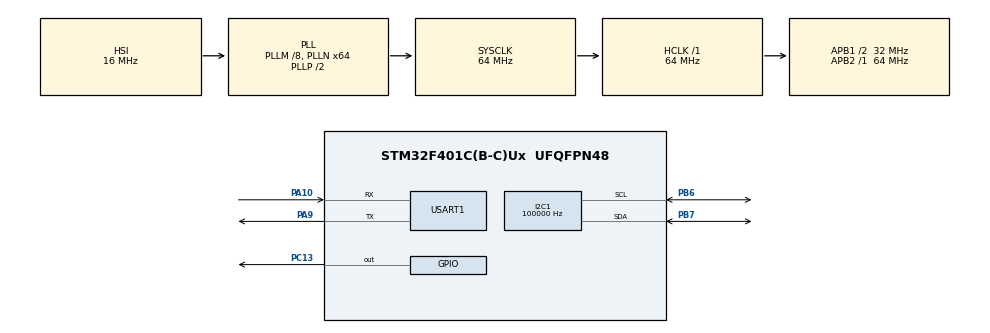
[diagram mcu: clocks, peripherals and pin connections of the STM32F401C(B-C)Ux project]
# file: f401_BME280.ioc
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I2C1.ClockSpeed=100000
I2C1.OwnAddress=0x0
Mcu.Family=STM32F4
Mcu.Name=STM32F401C(B-C)Ux
Mcu.Package=UFQFPN48
NVIC.PriorityGroup=NVIC_PRIORITYGROUP_4
NVIC.USART1_IRQn=true\:0\:0\:false\:false\:true\:true\:true\:true
PA10.Mode=Asynchronous
PA10.Signal=USART1_RX
PA9.Mode=Asynchronous
PA9.Signal=USART1_TX
PB6.Mode=I2C
PB6.Signal=I2C1_SCL
PB7.Mode=I2C
PB7.Signal=I2C1_SDA
PC13-ANTI_TAMP.Signal=GPIO_Output
ProjectManager.HeapSize=0x200
ProjectManager.StackSize=0x400
ProjectManager.TargetToolchain=STM32CubeIDE
RCC.48MHZClocksFreq_Value=32000000
RCC.AHBFreq_Value=64000000
RCC.APB1CLKDivider=RCC_HCLK_DIV2
RCC.APB1Freq_Value=32000000
RCC.APB1TimFreq_Value=64000000
RCC.APB2Freq_Value=64000000
RCC.APB2TimFreq_Value=64000000
RCC.CortexFreq_Value=64000000
RCC.HCLKFreq_Value=64000000
RCC.HSE_VALUE=25000000
RCC.HSI_VALUE=16000000
RCC.LSE_VALUE=32768
RCC.PLLM=8
RCC.PLLN=64
RCC.SYSCLKFreq_VALUE=64000000
RCC.SYSCLKSource=RCC_SYSCLKSOURCE_PLLCLK
RCC.VCOOutputFreq_Value=128000000
USART1.VirtualMode=VM_ASYNC
board=custom

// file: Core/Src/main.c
/* USER CODE BEGIN Header */
/**
  ******************************************************************************
  * @file           : main.c
  * @brief          : Main program body
  ******************************************************************************
  * @attention
  *
  * Copyright (c) 2022 STMicroelectronics.
  * All rights reserved.
  *
  * This software is licensed under terms that can be found in the LICENSE file
  * in the root directory of this software component.
  * If no LICENSE file comes with this software, it is provided AS-IS.
  *
  ******************************************************************************
  */
/* USER CODE END Header */
#include "main.h"

/* USER CODE BEGIN Includes */
#include <stdio.h>
#include "UART_config.h"
#include "BME280.h"
/* USER CODE END Includes */

 I2C_HandleTypeDef hi2c1;

UART_HandleTypeDef huart1;

/* USER CODE BEGIN PV */
char str1[100];
struct overs_mode{
	uint8_t ovs_tepm;
	uint8_t ovs_pres;
	uint8_t ovs_hum;
	uint8_t mode;
};
struct config_bme{
	uint8_t standby;
	uint8_t filter;
	uint8_t spi3;
};
/* USER CODE END PV */

void SystemClock_Config(void);
static void MX_GPIO_Init(void);
static void MX_I2C1_Init(void);
static void MX_USART1_UART_Init(void);

int main(void)
{

  /* MCU Configuration--------------------------------------------------------*/

  /* Reset of all peripherals, Initializes the Flash interface and the Systick. */
  HAL_Init();

  /* Configure the system clock */
  SystemClock_Config();

  /* Initialize all configured peripherals */
  MX_GPIO_Init();
  MX_I2C1_Init();
  MX_USART1_UART_Init();

  /* Infinite loop */
  /* USER CODE BEGIN WHILE */
  struct overs_mode om;
  struct config_bme	bme_conf;
  printf("stm init\r\n");
  HAL_StatusTypeDef ret;
  ret = HAL_I2C_IsDeviceReady(&hi2c1, 0x76, 3, 5);
  BME280_Init();
/*
  printf("Reset\r\n");
  BME280_SoftReset();
  status_sensor = BME280_GetStatus();

  while(status_sensor != STATUS_READY){
	  status_sensor = BME280_GetStatus();
	  printf("%d\r\n", status_sensor);
  }
  printf("Reset ok\r\n");
  */
  BME280_GetOversamplingMode(&om);
  printf("temp: %d\r\npres: %d\r\nhum: %d\r\nmode: %d\r\n\r\n", om.ovs_tepm, om.ovs_pres, om.ovs_hum, om.mode);

  BME280_GetConfig(&bme_conf);
  printf("Standby: %d\r\nFilter: %d\r\nSPI 3-Wire: %d\r\n\r\n",bme_conf.standby, bme_conf.filter, bme_conf.spi3);
  /*
  BME280_SetOversamplingHum(BME280_OVERSAMPLING_X1);
  BME280_GetOversamplingMode(&om);
  printf("temp: %d\r\npres: %d\r\nhum: %d\r\nmode: %d\r\n\r\n", om.ovs_tepm, om.ovs_pres, om.ovs_hum, om.mode);

  BME280_SetOversamplingTemp(BME280_OVERSAMPLING_X2);
  BME280_GetOversamplingMode(&om);
  printf("temp: %d\r\npres: %d\r\nhum: %d\r\nmode: %d\r\n\r\n", om.ovs_tepm, om.ovs_pres, om.ovs_hum, om.mode);

  BME280_SetOversamplingPress(BME280_OVERSAMPLING_X16);
  BME280_GetOversamplingMode(&om);
  printf("temp: %d\r\npres: %d\r\nhum: %d\r\nmode: %d\r\n\r\n", om.ovs_tepm, om.ovs_pres, om.ovs_hum, om.mode);

  BME280_SetMode(BME280_MODE_FORCED);
  BME280_GetOversamplingMode(&om);
  printf("temp: %d\r\npres: %d\r\nhum: %d\r\nmode: %d\r\n\r\n", om.ovs_tepm, om.ovs_pres, om.ovs_hum, om.mode);
	*/

  /*
  BME280_SetStandbyTime(BME280_STANDBY_TIME_125);
  BME280_GetConfig(&bme_conf);
  printf("Standby: %d\r\nFilter: %d\r\nSPI 3-Wire: %d\r\n\r\n",bme_conf.standby, bme_conf.filter, bme_conf.spi3);
  BME280_SetFilter(BME280_FILTER_OFF);
  BME280_GetConfig(&bme_conf);
  printf("Standby: %d\r\nFilter: %d\r\nSPI 3-Wire: %d\r\n\r\n",bme_conf.standby, bme_conf.filter, bme_conf.spi3);
	*/
  while (1)
  {
    /* USER CODE END WHILE */

    /* USER CODE BEGIN 3 */
	  float temp, pres, hum;
	  temp = BME280_GetTemperature();
	  pres = BME280_GetPressure()/1000.0f;
	  hum = BME280_GetHumidity();
	  printf("Temperature = %.3f *C Pressure = %.3f hPa Humidity = %.3f %% \n\r", temp, pres, hum);
	  HAL_Delay(100);
  }
  /* USER CODE END 3 */
}

void SystemClock_Config(void)
{
  RCC_OscInitTypeDef RCC_OscInitStruct = {0};
  RCC_ClkInitTypeDef RCC_ClkInitStruct = {0};

  /** Configure the main internal regulator output voltage
  */
  __HAL_RCC_PWR_CLK_ENABLE();
  __HAL_PWR_VOLTAGESCALING_CONFIG(PWR_REGULATOR_VOLTAGE_SCALE2);

  /** Initializes the RCC Oscillators according to the specified parameters
  * in the RCC_OscInitTypeDef structure.
  */
  RCC_OscInitStruct.OscillatorType = RCC_OSCILLATORTYPE_HSI;
  RCC_OscInitStruct.HSIState = RCC_HSI_ON;
  RCC_OscInitStruct.HSICalibrationValue = RCC_HSICALIBRATION_DEFAULT;
  RCC_OscInitStruct.PLL.PLLState = RCC_PLL_ON;
  RCC_OscInitStruct.PLL.PLLSource = RCC_PLLSOURCE_HSI;
  RCC_OscInitStruct.PLL.PLLM = 8;
  RCC_OscInitStruct.PLL.PLLN = 64;
  RCC_OscInitStruct.PLL.PLLP = RCC_PLLP_DIV2;
  RCC_OscInitStruct.PLL.PLLQ = 4;
  if (HAL_RCC_OscConfig(&RCC_OscInitStruct) != HAL_OK)
  {
    Error_Handler();
  }

  /** Initializes the CPU, AHB and APB buses clocks
  */
  RCC_ClkInitStruct.ClockType = RCC_CLOCKTYPE_HCLK|RCC_CLOCKTYPE_SYSCLK
                              |RCC_CLOCKTYPE_PCLK1|RCC_CLOCKTYPE_PCLK2;
  RCC_ClkInitStruct.SYSCLKSource = RCC_SYSCLKSOURCE_PLLCLK;
  RCC_ClkInitStruct.AHBCLKDivider = RCC_SYSCLK_DIV1;
  RCC_ClkInitStruct.APB1CLKDivider = RCC_HCLK_DIV2;
  RCC_ClkInitStruct.APB2CLKDivider = RCC_HCLK_DIV1;

  if (HAL_RCC_ClockConfig(&RCC_ClkInitStruct, FLASH_LATENCY_2) != HAL_OK)
  {
    Error_Handler();
  }
}

static void MX_I2C1_Init(void)
{

  hi2c1.Instance = I2C1;
  hi2c1.Init.ClockSpeed = 100000;
  hi2c1.Init.DutyCycle = I2C_DUTYCYCLE_2;
  hi2c1.Init.OwnAddress1 = 0;
  hi2c1.Init.AddressingMode = I2C_ADDRESSINGMODE_7BIT;
  hi2c1.Init.DualAddressMode = I2C_DUALADDRESS_DISABLE;
  hi2c1.Init.OwnAddress2 = 0;
  hi2c1.Init.GeneralCallMode = I2C_GENERALCALL_DISABLE;
  hi2c1.Init.NoStretchMode = I2C_NOSTRETCH_DISABLE;
  if (HAL_I2C_Init(&hi2c1) != HAL_OK)
  {
    Error_Handler();
  }

}

static void MX_USART1_UART_Init(void)
{

  huart1.Instance = USART1;
  huart1.Init.BaudRate = 115200;
  huart1.Init.WordLength = UART_WORDLENGTH_8B;
  huart1.Init.StopBits = UART_STOPBITS_1;
  huart1.Init.Parity = UART_PARITY_NONE;
  huart1.Init.Mode = UART_MODE_TX_RX;
  huart1.Init.HwFlowCtl = UART_HWCONTROL_NONE;
  huart1.Init.OverSampling = UART_OVERSAMPLING_16;
  if (HAL_UART_Init(&huart1) != HAL_OK)
  {
    Error_Handler();
  }

}

static void MX_GPIO_Init(void)
{
  GPIO_InitTypeDef GPIO_InitStruct = {0};

  /* GPIO Ports Clock Enable */
  __HAL_RCC_GPIOC_CLK_ENABLE();
  __HAL_RCC_GPIOA_CLK_ENABLE();
  __HAL_RCC_GPIOB_CLK_ENABLE();

  /*Configure GPIO pin Output Level */
  HAL_GPIO_WritePin(GPIOC, GPIO_PIN_13, GPIO_PIN_RESET);

  /*Configure GPIO pin : PC13 */
  GPIO_InitStruct.Pin = GPIO_PIN_13;
  GPIO_InitStruct.Mode = GPIO_MODE_OUTPUT_PP;
  GPIO_InitStruct.Pull = GPIO_NOPULL;
  GPIO_InitStruct.Speed = GPIO_SPEED_FREQ_LOW;
  HAL_GPIO_Init(GPIOC, &GPIO_InitStruct);

}

void Error_Handler(void)
{
  __disable_irq();
  while (1)
  {
  }
}
